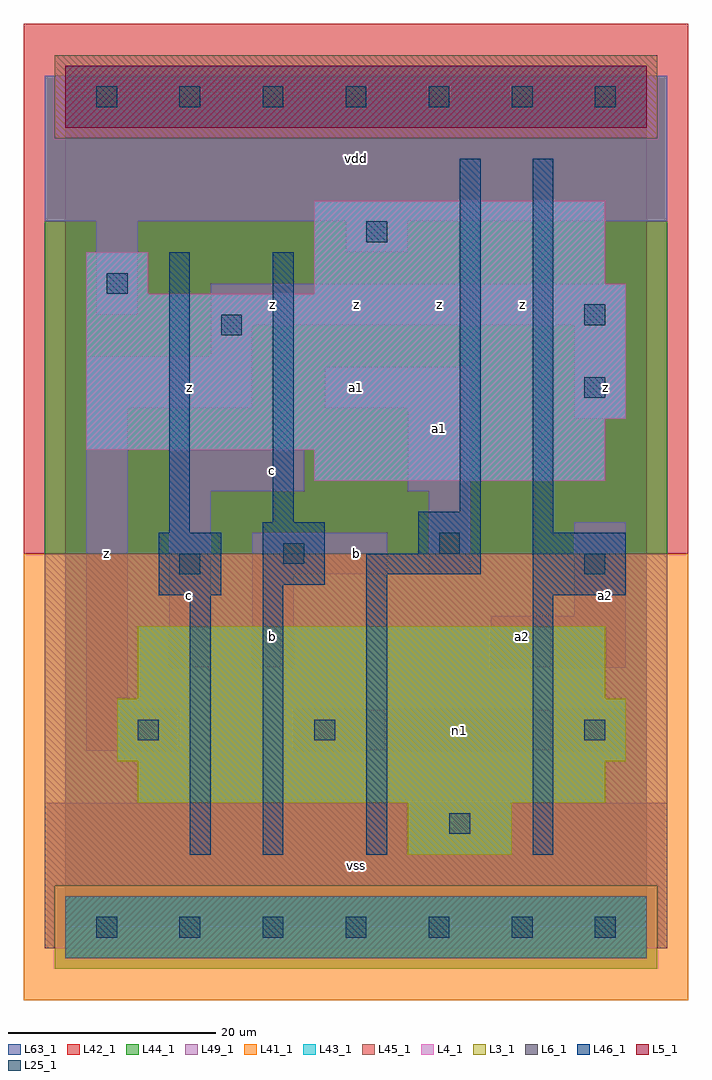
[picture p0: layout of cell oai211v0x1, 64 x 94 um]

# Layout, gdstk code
import gdstk
lib = gdstk.Library(unit=1e-6, precision=1e-09)
def R(c, l, rs):  # rectangles x0, y0, x1, y1
    for r in rs: c.add(gdstk.rectangle(r[:2], r[2:], *l))
def A(c, l, x, y, w, h, nx, ny, dx, dy):  # array of equal rectangles
    R(c, l, [(x+i*dx, y+j*dy, x+i*dx+w, y+j*dy+h) for i in range(nx) for j in range(ny)])
L3_1 = (3, 1)
L4_1 = (4, 1)
L5_1 = (5, 1)
L6_1 = (6, 1)
L25_1 = (25, 1)
L41_1 = (41, 1)
L42_1 = (42, 1)
L43_1 = (43, 1)
L44_1 = (44, 1)
L45_1 = (45, 1)
L46_1 = (46, 1)
L49_1 = (49, 1)
L63_1 = (63, 1)

oai211v0x1 = lib.new_cell('oai211v0x1')
R(oai211v0x1, L3_1, [(33,7,43,12), (7,12,52,16), (5,16,54,22), (7,22,52,29)])
R(oai211v0x1, L4_1, [(24,43,52,46), (2,46,52,49), (2,49,54,61), (2,61,8,65), (24,61,54,62), (24,62,52,70)])
R(oai211v0x1, L5_1, [(0,77,56,83)])
R(oai211v0x1, L6_1, [(0,-3,56,3), (0,-3,56,3)])
A(oai211v0x1, L25_1, 3, -1, 2, 2, 7, 2, 8, 80)
R(oai211v0x1, L25_1, [(37,9,39,11), (7,18,9,20), (24,18,26,20), (50,18,52,20), (11,34,13,36), (50,34,52,36), (21,35,23,37), (36,36,38,38), (50,51,52,53), (15,57,17,59), (50,58,52,60), (4,61,6,63), (29,66,31,68)])
R(oai211v0x1, L41_1, [(-4,-7,60,36)])
R(oai211v0x1, L42_1, [(-4,36,60,87)])
R(oai211v0x1, L43_1, [(0,-3,56,3), (33,7,43,12), (7,12,52,16), (5,16,54,22), (7,22,52,29), (24,43,52,46), (2,46,52,49), (2,49,54,61), (2,61,8,65), (24,61,54,62), (24,62,52,70), (0,77,56,83)])
R(oai211v0x1, L44_1, [(-1,-4,57,4), (-2,36,58,76), (-2,76,-1,82), (57,76,58,82)])
R(oai211v0x1, L45_1, [(-2,-2,-1,4), (57,-2,58,4), (-2,4,58,36), (-1,76,57,84)])
R(oai211v0x1, L46_1, [(12,7,14,32), (19,7,21,33), (29,7,31,34), (45,7,47,32), (9,32,15,38), (45,32,54,38), (19,33,25,39), (29,34,40,36), (34,36,40,40), (10,38,12,65), (45,38,47,74), (20,39,22,65), (38,40,40,74)])
R(oai211v0x1, L49_1, [(-2,-2,58,12), (2,17,11,21), (22,17,54,21), (2,21,6,50), (10,25,14,42), (18,25,22,34), (41,25,54,30), (49,30,54,39), (18,34,31,38), (35,34,39,42), (10,42,23,46), (33,42,39,50), (49,49,54,58), (2,50,18,55), (25,50,39,54), (14,55,18,58), (14,58,54,62), (3,59,7,68), (27,65,33,68), (-2,68,58,82)])
R(oai211v0x1, L63_1, [(0,0,56,80)])
oai211v0x1.add(gdstk.Label('z', (4,36), layer=49, texttype=1))
oai211v0x1.add(gdstk.Label('c', (12,32), layer=49, texttype=1))
oai211v0x1.add(gdstk.Label('z', (12,52), layer=49, texttype=1))
oai211v0x1.add(gdstk.Label('vss', (28,6), layer=49, texttype=1))
oai211v0x1.add(gdstk.Label('b', (20,28), layer=49, texttype=1))
oai211v0x1.add(gdstk.Label('c', (20,44), layer=49, texttype=1))
oai211v0x1.add(gdstk.Label('b', (28,36), layer=49, texttype=1))
oai211v0x1.add(gdstk.Label('a1', (28,52), layer=49, texttype=1))
oai211v0x1.add(gdstk.Label('z', (20,60), layer=49, texttype=1))
oai211v0x1.add(gdstk.Label('z', (28,60), layer=49, texttype=1))
oai211v0x1.add(gdstk.Label('vdd', (28,74), layer=49, texttype=1))
oai211v0x1.add(gdstk.Label('a2', (44,28), layer=49, texttype=1))
oai211v0x1.add(gdstk.Label('a1', (36,48), layer=49, texttype=1))
oai211v0x1.add(gdstk.Label('z', (36,60), layer=49, texttype=1))
oai211v0x1.add(gdstk.Label('z', (44,60), layer=49, texttype=1))
oai211v0x1.add(gdstk.Label('n1', (38,19), layer=49, texttype=1))
oai211v0x1.add(gdstk.Label('a2', (52,32), layer=49, texttype=1))
oai211v0x1.add(gdstk.Label('z', (52,52), layer=49, texttype=1))

lib.write_gds('oai211v0x1.gds')
